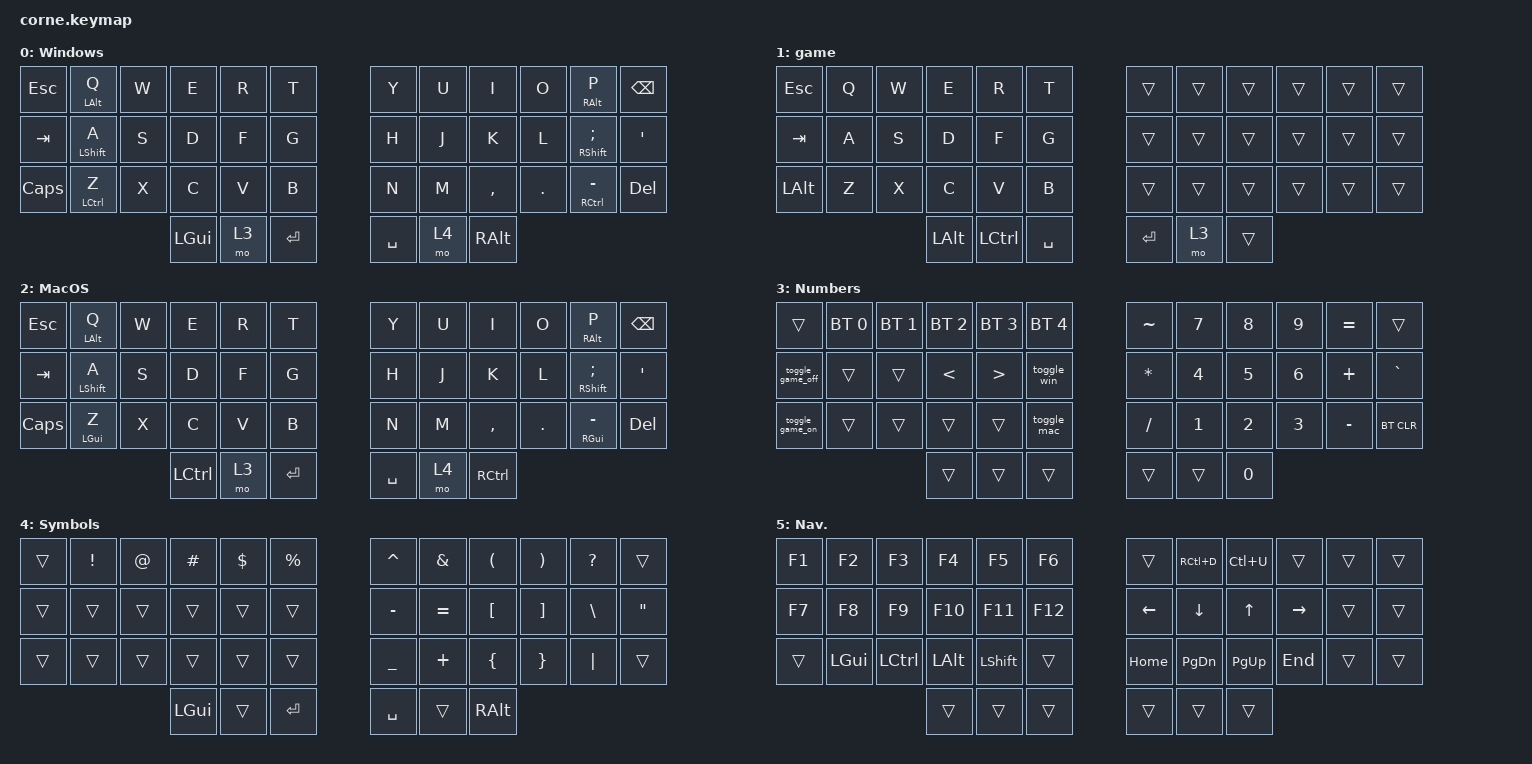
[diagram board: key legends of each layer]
/*
 * Copyright (c) 2020 The ZMK Contributors
 *
 * SPDX-License-Identifier: MIT
 */ 

#include <behaviors.dtsi>
#include <dt-bindings/zmk/keys.h>
#include <dt-bindings/zmk/bt.h>
#include <dt-bindings/zmk/behaviors.h>

/ {
    behaviors {
        tog_on: toggle_layer_on_only {
            compatible = "zmk,behavior-toggle-layer";
            #binding-cells = <1>;
            display-name = "Toggle Layer On";
            toggle-mode = "on";
        };
        tog_off: toggle_layer_off_only {
            compatible = "zmk,behavior-toggle-layer";
            #binding-cells = <1>;
            display-name = "Toggle Layer Off";
            toggle-mode = "off";
        };
        hml: home_row_mod_left {
            compatible = "zmk,behavior-hold-tap";
            #binding-cells = <2>;
            flavor = "balanced";
            require-prior-idle-ms = <100>;
            tapping-term-ms = <190>;
            quick-tap-ms = <175>;
            bindings = <&kp>, <&kp>;
            hold-trigger-key-positions = <7 8 9 10 11 12 13 19 20 21 22 23 24 31 32 33 34 35 36 37 38 39 40 41 42>; // List of keys on the right side of the keyboard
            hold-trigger-on-release;
        };
        hmr: home_row_mod_right {
            compatible = "zmk,behavior-hold-tap";
            #binding-cells = <2>;
            flavor = "balanced";
            require-prior-idle-ms = <100>;
            tapping-term-ms = <190>;
            quick-tap-ms = <175>;
            bindings = <&kp>, <&kp>;
            hold-trigger-key-positions = <1 2 3 4 5 6 12 13 14 15 16 17 18 25 26 27 28 29 30 36 37 38 39 40 41 42>; // List of keys on the left side of the keyboard
            hold-trigger-on-release;
        };
        hmt: home_row_mod_tap {
            compatible = "zmk,behavior-hold-tap";
            #binding-cells = <2>;
            flavor = "tap-preferred";
            tapping-term-ms = <190>;
            quick-tap-ms = <175>;
            bindings = <&kp>, <&kp>;
        };
    };
};

/ {
    macros {
        toggle_mac: toggle_mac {
            compatible = "zmk,behavior-macro";
            #binding-cells = <0>;
            bindings
                = <&tog_on 2>
                , <&tog_off 0>
                ;
        };
        toggle_win: toggle_win {
            compatible = "zmk,behavior-macro";
            #binding-cells = <0>;
            bindings
                = <&tog_on 0>
                , <&tog_off 2>
                ;
        };
        toggle_game_on: toggle_game_on {
            compatible = "zmk,behavior-macro";
            #binding-cells = <0>;
            bindings
                = <&tog_on 1>
                , <&tog_off 0>
                ;
        };
        toggle_game_off: toggle_game_off {
            compatible = "zmk,behavior-macro";
            #binding-cells = <0>;
            bindings
                = <&tog_on 0>
                , <&tog_off 1>
                ;
        };
    };
};

/ {
    conditional_layers {
        compatible = "zmk,conditional-layers";
        tri_layer {
            if-layers = <3 4>;
            then-layer = <5>;
        };
    };
};

/ {
        keymap {
                compatible = "zmk,keymap";

                default_layer_windows {
// -----------------------------------------------------------------------------------------
// | ESC   |   Q LALT (hold) |  W  |  E  |  R  |  T  |   |  Y  |  U   |  I  |  O  |  P RALT (hold)  | BSPC |
// | TAB   |  A LSHIFT(hold) |  S  |  D  |  F  |  G  |   |  H  |  J   |  K  |  L  |  ; RSHIFT(hold) |  '   |
// | CAPS  |  Z LCTRL(hold)  |  X  |  C  |  V  |  B  |   |  N  |  M   |  ,  |  .  |  - RCTRL(hold)  | DEL  |
//                      | GUI | LWR | ENT |   | SPC  | RSE  | ALT |
                        display-name = "Windows";
                        bindings = <
   &kp ESC   &hml LALT Q   &kp W &kp E &kp R &kp T   &kp Y &kp U  &kp I     &kp O   &hmr RALT P      &kp BSPC
   &kp TAB   &hml LSHIFT A &kp S &kp D &kp F &kp G   &kp H &kp J  &kp K     &kp L   &hmr RSHIFT SEMI &kp SQT
   &kp CAPS  &hml LCTRL Z  &kp X &kp C &kp V &kp B   &kp N &kp M  &kp COMMA &kp DOT &hmr RCTRL MINUS &kp DEL
                           &kp LGUI &mo 3 &kp RET   &kp SPACE &mo 4 &kp RALT
                        >;
                };
                default_layer_game {
// -----------------------------------------------------------------------------------------
// | ESC   |  q  |  w  |  e  |  r  |  t  |   |  y  |  u   |  i  |  o  |  p RALT (hold)  | bspc |
// | TAB   |  a  |  s  |  d  |  f  |  g  |   |  h  |  j   |  k  |  l  |  ; RSHIFT(hold) |  '   |
// | ALT   |  z  |  x  |  c  |  v  |  b  |   |  n  |  m   |  ,  |  .  |  - RCTRL(hold)  | del  |
//                      | ALT | CTRL | SPC |   | ret | lwr  | alt |
                        display-name = "game";
                        bindings = <
   &kp ESC   &kp Q  &kp W &kp E &kp R &kp T   &trans &trans  &trans &trans &trans &trans
   &kp TAB   &kp A  &kp S &kp D &kp F &kp G   &trans &trans  &trans &trans &trans &trans
   &kp LALT  &kp Z  &kp X &kp C &kp V &kp B   &trans &trans  &trans &trans &trans &trans
               &kp LALT &kp LCTRL &kp SPACE   &kp RET &mo 3 &trans
                        >;
                };
                default_layer_macos {
// -----------------------------------------------------------------------------------------
// | ESC   |   Q LALT (hold) |  W  |  E  |  R  |  T  |   |  Y  |  U   |  I  |  O  |  P RALT (hold)  | BSPC |
// | TAB   |  A LSHIFT(hold) |  S  |  D  |  F  |  G  |   |  H  |  J   |  K  |  L  |  ; RSHIFT(hold) |  '   |
// | CAPS  |  Z LGUI(hold)   |  X  |  C  |  V  |  B  |   |  N  |  M   |  ,  |  .  |  - RGUI(hold)   | DEL  |
//                       |  LCTRL  | LWR | ENT |   | SPC | RSE  |  RCTRL  |
                        display-name = "MacOS";
                        bindings = <
   &kp ESC   &hml LALT Q   &kp W &kp E &kp R &kp T   &kp Y &kp U  &kp I     &kp O   &hmr RALT P      &kp BSPC
   &kp TAB   &hml LSHIFT A &kp S &kp D &kp F &kp G   &kp H &kp J  &kp K     &kp L   &hmr RSHIFT SEMI &kp SQT
   &kp CAPS  &hml LGUI Z &kp X &kp C &kp V &kp B   &kp N &kp M  &kp COMMA &kp DOT &hmr RGUI MINUS   &kp DEL
                              &kp LCTRL &mo 3 &kp RET   &kp SPACE &mo 4  &kp RCTRL
                        >;
                };
                lower_layer {
// -----------------------------------------------------------------------------------------
// |       | BT1 | BT2  | BT3  | BT4 | BT5 |   |  ~  |  7  |  8  |  9  |  =  |       |
// |GAMEOFF|     |      |  <   |  >  | WIN |   |  *  |  4  |  5  |  6  |  +  |   `   |
// |GAMEON |     |      |      |     |MACOS|   |  /  |  1  |  2  |  3  |  -  | BTCLR |
//                    | GUI |     | ENT |   | SPC |     |  0  |
                        display-name = "Numbers";
                        bindings = <
   &trans           &bt BT_SEL 0  &bt BT_SEL 1 &bt BT_SEL 2 &bt BT_SEL 3 &bt BT_SEL 4   &kp TILDE  &kp N7  &kp N8  &kp N9  &kp EQUAL &trans
   &toggle_game_off &trans        &trans       &kp LT       &kp GT       &toggle_win    &kp STAR   &kp N4  &kp N5  &kp N6  &kp PLUS  &kp GRAVE
   &toggle_game_on  &trans        &trans       &trans       &trans       &toggle_mac    &kp SLASH  &kp N1  &kp N2  &kp N3  &kp MINUS &bt BT_CLR
                          	        &trans       &trans       &trans         &trans    &trans   &kp N0
                        >;
                };
                raise_layer {
// -----------------------------------------------------------------------------------------
// |      |  !  |  @  |  #  |  $  |  %  |   |  ^  |  &  |  (  |  )  |  ?  |      |
// |      |     |     |     |     |     |   |  -  |  =  |  [  |  ]  |  \  |  "   |
// |      |     |     |     |     |     |   |  _  |  +  |  {  |  }  | "|" |      |
//                    | GUI |     | RET |   | SPC |     | ALT |
                        display-name = "Symbols";
                        bindings = <
   &trans &kp EXCL &kp AT &kp HASH &kp DLLR &kp PRCNT    &kp CARET &kp AMPS  &kp LPAR &kp RPAR &kp QUESTION &trans
   &trans &trans   &trans &trans   &trans   &trans       &kp MINUS &kp EQUAL &kp LBKT &kp RBKT &kp BSLH     &kp DQT
   &trans &trans   &trans &trans   &trans   &trans       &kp UNDER &kp PLUS  &kp LBRC &kp RBRC &kp PIPE     &trans
                    	     &kp LGUI &trans   &kp RET   &kp SPACE   &trans    &kp RALT
                        >;
                };

                movement_layer {
// -----------------------------------------------------------------------------------------
// |  F1  |  F2  |  F3 | F4  | F5  | F6  |   |     | ctrl-d  |  ctrl-u |     |     |      |
// |  F7  |  F8  |  F9 | F10 | F11 | F12 |   | LFT |   DWN   |    UP   | RGT |     |      |
// |      | LGUI |LCTRL| LALT|LSHIFT|    |   | HOME |  PG_DN  |  PG_UP  | END |     |      |
//                    |     |     |      |   |     |     |     |
                        display-name = "Nav.";
                        bindings = <
   &kp F1    &kp F2   &kp F3    &kp F4   &kp F5       &kp F6    &trans   &kp RC(D)  &kp LC(U)  &trans    &trans &trans
   &kp F7    &kp F8   &kp F9    &kp F10  &kp F11      &kp F12   &kp LEFT &kp DOWN   &kp UP     &kp RIGHT &trans &trans
   &trans    &kp LGUI &kp LCTRL &kp LALT &kp LSHIFT   &trans    &kp HOME &kp PG_DN  &kp PG_UP  &kp END   &trans &trans
                    	    &trans  &trans  &trans    &trans   &trans     &trans
                        >;
                };
                

                extra_1 {
                        status = "reserved";
                };

                extra_2 {
                        status = "reserved";
                };

                extra_3 {
                        status = "reserved";
                };
        };
};
